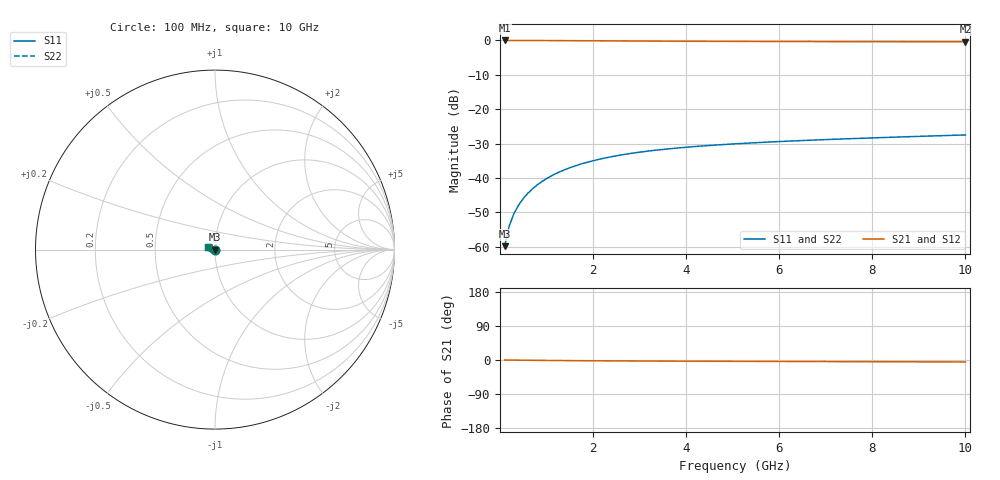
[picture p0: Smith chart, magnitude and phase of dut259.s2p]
! Touchstone file exported from HFSS 2024.1.0
!  File:  C:/UserFiles/LocalFiles/RDL_TSV_Batchsim/temp_TSV1_259_1779391320.aedt
!  Generated:  03:27:54 AM May 22, 2026
!  Design:  TSV1
!  Project:  temp_TSV1_259_1779391320
!  Setup:  Setup1
!  Solution:  Sweep
! Variables:
!  dtsv = 8.91um
!  hbump = 3um
!  htsv = 78.74um
!  lrdl = 252.1521522um
!  p = 40
!  p1 = 54.85um
!  t = 500um
!  trdl = 3um
!  wrdl = 24.89489489um
# GHz S MA R 50.000000
! Terminal data exported
! Port[1] = TSV22_T1
! Port[2] = TSV22_T2
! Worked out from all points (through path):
!   100 points, 100 MHz to 10 GHz, reference 50 ohm
!   highest |S21| = 0.00 dB at 100 MHz (marker M1); lowest = -0.4 dB at 10 GHz (marker M2)
!   lowest |S11| = -59.8 dB at 100 MHz (marker M3), VSWR 1.00, Z = 50 - j0.101 ohm
!   |S11| at or under -10 dB: start of sweep to end of sweep
!   |S22| runs from -59.8 to -27.5 dB; largest |S21 - S12| = 4e-15
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0.1  0.001019 -81.9  0.9998 -0.1  0.9998 -0.1  0.001019 -81.9
! Gamma 0 0 0 0
! Port Impedance 50 0 50 0
0.2  0.002019 -88.8  0.9997 -0.2  0.9997 -0.2  0.002019 -88.8
0.3  0.003024 -92.5  0.9995 -0.4  0.9995 -0.4  0.003024 -92.5
0.4  0.004024 -95.4  0.9992 -0.5  0.9992 -0.5  0.004024 -95.4
0.5  0.005016 -97.9  0.9989 -0.6  0.9989 -0.6  0.005016 -97.9
0.6  0.005997 -100.3  0.9985 -0.7  0.9985 -0.7  0.005997 -100.3
0.7  0.006965 -102.6  0.998 -0.8  0.998 -0.8  0.006965 -102.6
0.8  0.007918 -104.8  0.9975 -0.9  0.9975 -0.9  0.007918 -104.8
0.9  0.008855 -106.9  0.997 -1.0  0.997 -1.0  0.008855 -106.9
1.1  0.01068 -111.0  0.9957 -1.2  0.9957 -1.2  0.01068 -111.0
1.4  0.01325 -116.8  0.9935 -1.5  0.9935 -1.5  0.01325 -116.8
1.6  0.01486 -120.5  0.992 -1.7  0.992 -1.7  0.01486 -120.5
1.8  0.01638 -124.0  0.9903 -1.9  0.9903 -1.9  0.01638 -124.0
2.1  0.01849 -129.1  0.9878 -2.1  0.9878 -2.1  0.01849 -129.1
2.5  0.02101 -135.4  0.9845 -2.4  0.9845 -2.4  0.02101 -135.4
2.9  0.02321 -141.2  0.9814 -2.6  0.9814 -2.6  0.02321 -141.2
3.4  0.02558 -147.8  0.9777 -2.8  0.9777 -2.8  0.02558 -147.8
4.2  0.02869 -157.0  0.9728 -3.2  0.9728 -3.2  0.02869 -157.0
5.1  0.0315 -165.9  0.9684 -3.5  0.9684 -3.5  0.0315 -165.9
6.7  0.03548 -178.9  0.9629 -4.1  0.9629 -4.1  0.03549 -178.9
8.4  0.03908 170.1  0.9591 -4.6  0.9591 -4.6  0.03908 170.1
10  0.04226 161.5  0.9567 -5.2  0.9567 -5.2  0.04226 161.5
